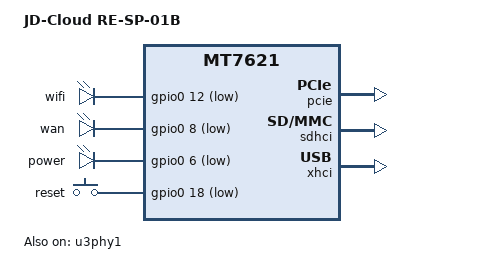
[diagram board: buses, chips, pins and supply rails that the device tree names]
/dts-v1/;

#include "mt7621.dtsi"
#include <dt-bindings/input/input.h>
#include "mt7621-spi-32m-layout.dtsi"
#include "mt7621-raeth-gmac2.dtsi"
#include "mt7621-pinctrl-default-gpio.dtsi"

/ {
	compatible = "jdcloud,re-sp-01b";
	model = "JD-Cloud RE-SP-01B";

	chosen {
		bootargs = "console=ttyS0,115200";
	};

	leds {
		compatible = "gpio-leds";

		sys_red {
			label = "wifi";
			gpios = <&gpio0 12 GPIO_ACTIVE_LOW>;
		};

		sys_green {
			label = "wan";
			gpios = <&gpio0 8 GPIO_ACTIVE_LOW>;
		};

		sys_blue {
			label = "power";
			gpios = <&gpio0 6 GPIO_ACTIVE_LOW>;
		};
	};

	gpio-keys-polled {
		compatible = "gpio-keys-polled";
		#address-cells = <1>;
		#size-cells = <0>;
		poll-interval = <20>;

		reset {
			label = "reset";
			gpios = <&gpio0 18 GPIO_ACTIVE_LOW>;
			linux,code = <KEY_RESTART>;
		};

	};
};

&pcie {
	status = "okay";
};

&sdhci {
	status = "okay";
};


&xhci {
	status = "okay";
};

&u3phy1 {
	status = "okay";
};
